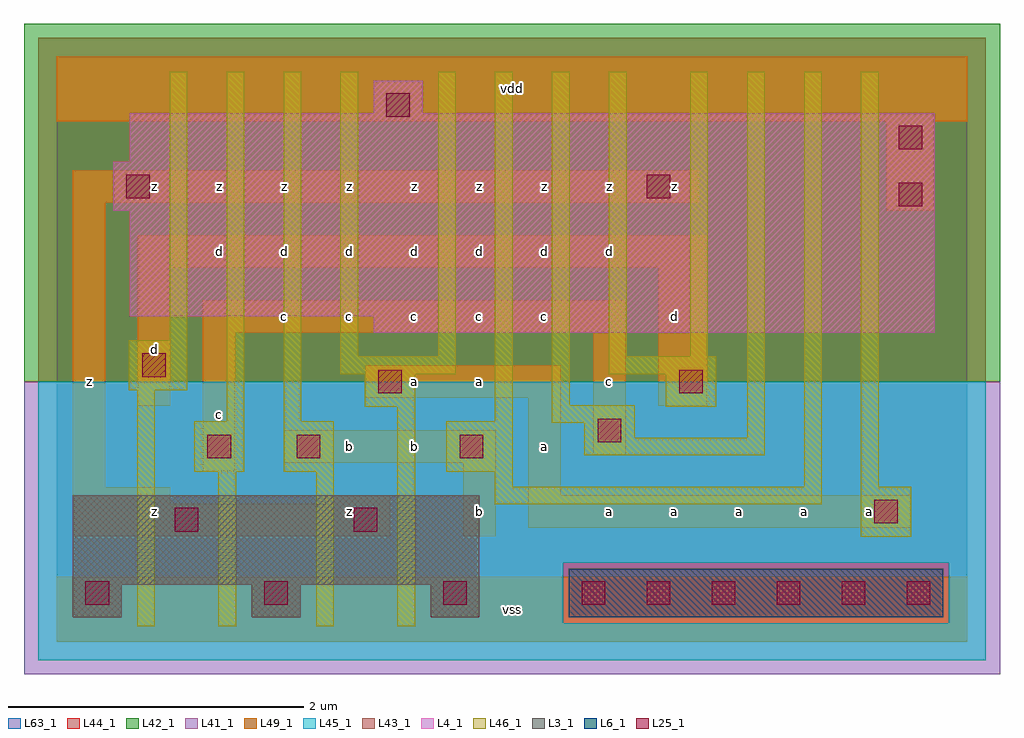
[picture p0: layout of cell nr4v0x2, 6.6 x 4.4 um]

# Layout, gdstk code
import gdstk
lib = gdstk.Library(unit=1e-6, precision=1e-09)
def R(c, l, rs):  # rectangles x0, y0, x1, y1
    for r in rs: c.add(gdstk.rectangle(r[:2], r[2:], *l))
def A(c, l, x, y, w, h, nx, ny, dx, dy):  # array of equal rectangles
    R(c, l, [(x+i*dx, y+j*dy, x+i*dx+w, y+j*dy+h) for i in range(nx) for j in range(ny)])
L3_1 = (3, 1)
L4_1 = (4, 1)
L6_1 = (6, 1)
L25_1 = (25, 1)
L41_1 = (41, 1)
L42_1 = (42, 1)
L43_1 = (43, 1)
L44_1 = (44, 1)
L45_1 = (45, 1)
L46_1 = (46, 1)
L49_1 = (49, 1)
L63_1 = (63, 1)

nr4v0x2 = lib.new_cell('nr4v0x2')
A(nr4v0x2, L3_1, 0.11, 0.165, 0.33, 0.22, 3, 1, 1.21, 0)
R(nr4v0x2, L3_1, [(0.11,0.385,2.86,0.99)])
R(nr4v0x2, L4_1, [(2.145,2.09,5.94,2.2), (0.495,2.2,5.94,2.915), (0.385,2.915,5.94,3.245), (0.495,3.245,5.94,3.575), (2.145,3.575,2.475,3.795)])
R(nr4v0x2, L6_1, [(3.465,0.165,5.995,0.495)])
A(nr4v0x2, L25_1, 0.195, 0.25, 0.16, 0.16, 3, 1, 1.21, 0)
A(nr4v0x2, L25_1, 3.55, 0.25, 0.16, 0.16, 6, 1, 0.44, 0)
R(nr4v0x2, L25_1, [(0.8,0.745,0.96,0.905), (2.01,0.745,2.17,0.905), (5.53,0.8,5.69,0.96), (1.02,1.24,1.18,1.4), (1.625,1.24,1.785,1.4), (2.725,1.24,2.885,1.4), (3.66,1.35,3.82,1.51), (2.175,1.68,2.335,1.84), (4.21,1.68,4.37,1.84), (0.58,1.79,0.74,1.95), (5.695,2.945,5.855,3.105), (0.47,3,0.63,3.16), (3.99,3,4.15,3.16), (5.695,3.33,5.855,3.49), (2.23,3.55,2.39,3.71)])
R(nr4v0x2, L41_1, [(-0.22,-0.22,6.38,1.76)])
R(nr4v0x2, L42_1, [(-0.22,1.76,6.38,4.18)])
A(nr4v0x2, L43_1, 0.11, 0.165, 0.33, 0.22, 3, 1, 1.21, 0)
R(nr4v0x2, L43_1, [(3.465,0.165,5.995,0.495), (0.11,0.385,2.86,0.99), (2.145,2.09,5.94,2.2), (0.495,2.2,5.94,2.915), (0.385,2.915,5.94,3.245), (0.495,3.245,5.94,3.575), (2.145,3.575,2.475,3.795)])
R(nr4v0x2, L44_1, [(3.425,0.125,6.035,0.535), (-0.125,1.76,6.285,4.085)])
R(nr4v0x2, L45_1, [(-0.125,-0.125,6.285,0.125), (-0.125,0.125,3.425,0.535), (6.035,0.125,6.285,0.535), (-0.125,0.535,6.285,1.76)])
R(nr4v0x2, L46_1, [(0.545,0.105,0.665,1.7), (1.095,0.105,1.215,1.15), (1.755,0.105,1.875,1.15), (2.305,0.105,2.425,1.59), (5.44,0.71,5.78,1.05), (2.965,0.93,5.175,1.05), (2.965,1.05,3.085,1.15), (5.055,1.05,5.175,3.855), (5.44,1.05,5.56,3.855), (0.93,1.15,1.27,1.49), (1.535,1.15,1.875,1.49), (2.635,1.15,3.085,1.49), (3.57,1.26,4.79,1.38), (3.57,1.38,3.91,1.48), (4.67,1.38,4.79,3.855), (3.35,1.48,3.91,1.6), (1.15,1.49,1.27,3.855), (1.535,1.49,1.655,3.855), (2.965,1.49,3.085,3.855), (2.085,1.59,2.425,1.81), (4.12,1.59,4.46,1.81), (3.35,1.6,3.47,3.855), (0.49,1.7,0.885,2.04), (1.92,1.81,2.7,1.93), (3.735,1.81,4.46,1.93), (1.92,1.93,2.04,3.855), (2.58,1.93,2.7,3.855), (3.735,1.93,3.855,3.855), (4.285,1.93,4.405,3.855), (0.765,2.04,0.885,3.855)])
R(nr4v0x2, L49_1, [(0,0,6.16,0.44), (0.11,0.715,2.255,0.935), (2.75,0.715,2.97,1.21), (3.19,0.77,5.775,0.99), (0.11,0.935,0.77,1.045), (1.815,0.935,2.255,0.99), (3.19,0.99,3.41,1.65), (0.11,1.045,0.33,2.97), (0.99,1.155,1.21,2.09), (1.54,1.21,2.97,1.43), (3.63,1.265,3.85,2.09), (0.55,1.595,0.77,2.53), (4.07,1.595,4.4,2.53), (2.09,1.65,3.41,1.87), (0.99,2.09,3.85,2.31), (0.55,2.53,4.4,2.75), (5.61,2.915,5.94,3.52), (0.11,2.97,4.345,3.19), (0,3.52,6.16,3.96)])
R(nr4v0x2, L63_1, [(0,0,6.16,3.96)])
nr4v0x2.add(gdstk.Label('z', (0.66,0.88), layer=49, texttype=1))
nr4v0x2.add(gdstk.Label('z', (0.22,1.76), layer=49, texttype=1))
nr4v0x2.add(gdstk.Label('d', (0.66,1.98), layer=49, texttype=1))
nr4v0x2.add(gdstk.Label('z', (0.66,3.08), layer=49, texttype=1))
nr4v0x2.add(gdstk.Label('z', (1.98,0.88), layer=49, texttype=1))
nr4v0x2.add(gdstk.Label('b', (1.98,1.32), layer=49, texttype=1))
nr4v0x2.add(gdstk.Label('c', (1.1,1.54), layer=49, texttype=1))
nr4v0x2.add(gdstk.Label('c', (1.54,2.2), layer=49, texttype=1))
nr4v0x2.add(gdstk.Label('c', (1.98,2.2), layer=49, texttype=1))
nr4v0x2.add(gdstk.Label('d', (1.1,2.64), layer=49, texttype=1))
nr4v0x2.add(gdstk.Label('d', (1.54,2.64), layer=49, texttype=1))
nr4v0x2.add(gdstk.Label('d', (1.98,2.64), layer=49, texttype=1))
nr4v0x2.add(gdstk.Label('z', (1.54,3.08), layer=49, texttype=1))
nr4v0x2.add(gdstk.Label('z', (1.98,3.08), layer=49, texttype=1))
nr4v0x2.add(gdstk.Label('z', (1.1,3.08), layer=49, texttype=1))
nr4v0x2.add(gdstk.Label('vss', (3.08,0.22), layer=49, texttype=1))
nr4v0x2.add(gdstk.Label('b', (2.86,0.88), layer=49, texttype=1))
nr4v0x2.add(gdstk.Label('b', (2.42,1.32), layer=49, texttype=1))
nr4v0x2.add(gdstk.Label('a', (3.3,1.32), layer=49, texttype=1))
nr4v0x2.add(gdstk.Label('a', (2.86,1.76), layer=49, texttype=1))
nr4v0x2.add(gdstk.Label('a', (2.42,1.76), layer=49, texttype=1))
nr4v0x2.add(gdstk.Label('c', (2.42,2.2), layer=49, texttype=1))
nr4v0x2.add(gdstk.Label('c', (2.86,2.2), layer=49, texttype=1))
nr4v0x2.add(gdstk.Label('c', (3.3,2.2), layer=49, texttype=1))
nr4v0x2.add(gdstk.Label('d', (2.42,2.64), layer=49, texttype=1))
nr4v0x2.add(gdstk.Label('d', (2.86,2.64), layer=49, texttype=1))
nr4v0x2.add(gdstk.Label('d', (3.3,2.64), layer=49, texttype=1))
nr4v0x2.add(gdstk.Label('z', (2.86,3.08), layer=49, texttype=1))
nr4v0x2.add(gdstk.Label('z', (3.3,3.08), layer=49, texttype=1))
nr4v0x2.add(gdstk.Label('z', (2.42,3.08), layer=49, texttype=1))
nr4v0x2.add(gdstk.Label('vdd', (3.08,3.74), layer=49, texttype=1))
nr4v0x2.add(gdstk.Label('a', (4.18,0.88), layer=49, texttype=1))
nr4v0x2.add(gdstk.Label('a', (4.62,0.88), layer=49, texttype=1))
nr4v0x2.add(gdstk.Label('a', (3.74,0.88), layer=49, texttype=1))
nr4v0x2.add(gdstk.Label('c', (3.74,1.76), layer=49, texttype=1))
nr4v0x2.add(gdstk.Label('d', (4.18,2.2), layer=49, texttype=1))
nr4v0x2.add(gdstk.Label('d', (3.74,2.64), layer=49, texttype=1))
nr4v0x2.add(gdstk.Label('z', (4.18,3.08), layer=49, texttype=1))
nr4v0x2.add(gdstk.Label('z', (3.74,3.08), layer=49, texttype=1))
nr4v0x2.add(gdstk.Label('a', (5.5,0.88), layer=49, texttype=1))
nr4v0x2.add(gdstk.Label('a', (5.06,0.88), layer=49, texttype=1))

lib.write_gds('nr4v0x2.gds')
